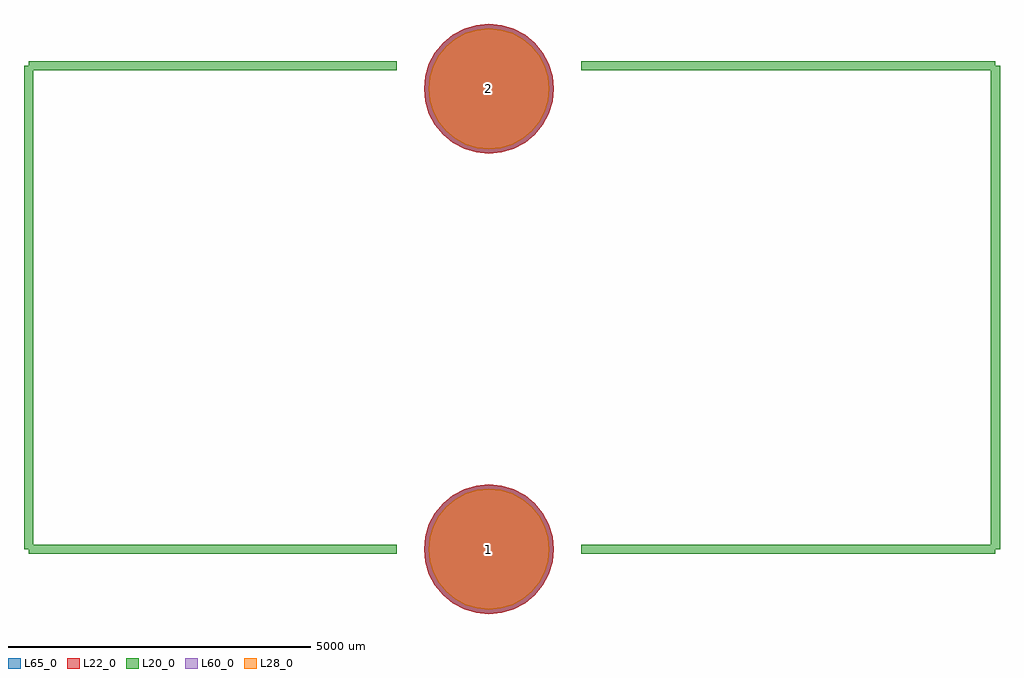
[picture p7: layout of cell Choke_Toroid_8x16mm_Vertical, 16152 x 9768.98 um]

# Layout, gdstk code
import gdstk
lib = gdstk.Library(unit=1e-6, precision=1e-09)
def P(c, l, *ps):  # polygons
    for p in ps: c.add(gdstk.Polygon(p, *l))
L20_0 = (20, 0)
L22_0 = (22, 0)
L28_0 = (28, 0)
L60_0 = (60, 0)
L65_0 = (65, 0)

choke_toroid_8x16mm_vert = lib.new_cell('Choke_Toroid_8x16mm_Vertical')
P(choke_toroid_8x16mm_vert, L22_0, [(8694.49,7620),(8673.844,7829.623),(8612.699,8031.19),(8513.406,8216.955),(8379.779,8379.779),(8216.955,8513.406),(8031.19,8612.699),(7829.623,8673.844),(7620,8694.49),(7410.377,8673.844),(7208.81,8612.699),(7023.045,8513.406),(6860.221,8379.779),(6726.594,8216.955),(6627.301,8031.19),(6566.156,7829.623),(6545.51,7620),(6566.156,7410.377),(6627.301,7208.81),(6726.594,7023.045),(6860.221,6860.221),(7023.045,6726.594),(7208.81,6627.301),(7410.377,6566.156),(7620,6545.51),(7829.623,6566.156),(8031.19,6627.301),(8216.955,6726.594),(8379.779,6860.221),(8513.406,7023.045),(8612.699,7208.81),(8673.844,7410.377)],
  [(8694.49,0),(8673.844,209.623),(8612.699,411.19),(8513.406,596.955),(8379.779,759.779),(8216.955,893.406),(8031.19,992.699),(7829.623,1053.844),(7620,1074.49),(7410.377,1053.844),(7208.81,992.699),(7023.045,893.406),(6860.221,759.779),(6726.594,596.955),(6627.301,411.19),(6566.156,209.623),(6545.51,0),(6566.156,-209.623),(6627.301,-411.19),(6726.594,-596.955),(6860.221,-759.779),(7023.045,-893.406),(7208.81,-992.699),(7410.377,-1053.844),(7620,-1074.49),(7829.623,-1053.844),(8031.19,-992.699),(8216.955,-893.406),(8379.779,-759.779),(8513.406,-596.955),(8612.699,-411.19),(8673.844,-209.623)])
P(choke_toroid_8x16mm_vert, L28_0, [(8619.49,7620),(8600.285,7814.991),(8543.408,8002.488),(8451.046,8175.287),(8326.746,8326.746),(8175.287,8451.046),(8002.488,8543.408),(7814.991,8600.285),(7620,8619.49),(7425.009,8600.285),(7237.512,8543.408),(7064.713,8451.046),(6913.254,8326.746),(6788.954,8175.287),(6696.592,8002.488),(6639.715,7814.991),(6620.51,7620),(6639.715,7425.009),(6696.592,7237.512),(6788.954,7064.713),(6913.254,6913.254),(7064.713,6788.954),(7237.512,6696.592),(7425.009,6639.715),(7620,6620.51),(7814.991,6639.715),(8002.488,6696.592),(8175.287,6788.954),(8326.746,6913.254),(8451.046,7064.713),(8543.408,7237.512),(8600.285,7425.009)],
  [(8619.49,0),(8600.285,194.991),(8543.408,382.488),(8451.046,555.287),(8326.746,706.746),(8175.287,831.046),(8002.488,923.408),(7814.991,980.285),(7620,999.49),(7425.009,980.285),(7237.512,923.408),(7064.713,831.046),(6913.254,706.746),(6788.954,555.287),(6696.592,382.488),(6639.715,194.991),(6620.51,0),(6639.715,-194.991),(6696.592,-382.488),(6788.954,-555.287),(6913.254,-706.746),(7064.713,-831.046),(7237.512,-923.408),(7425.009,-980.285),(7620,-999.49),(7814.991,-980.285),(8002.488,-923.408),(8175.287,-831.046),(8326.746,-706.746),(8451.046,-555.287),(8543.408,-382.488),(8600.285,-194.991)])
P(choke_toroid_8x16mm_vert, L60_0, [(8619.49,7620),(8600.285,7814.991),(8543.408,8002.488),(8451.046,8175.287),(8326.746,8326.746),(8175.287,8451.046),(8002.488,8543.408),(7814.991,8600.285),(7620,8619.49),(7425.009,8600.285),(7237.512,8543.408),(7064.713,8451.046),(6913.254,8326.746),(6788.954,8175.287),(6696.592,8002.488),(6639.715,7814.991),(6620.51,7620),(6639.715,7425.009),(6696.592,7237.512),(6788.954,7064.713),(6913.254,6913.254),(7064.713,6788.954),(7237.512,6696.592),(7425.009,6639.715),(7620,6620.51),(7814.991,6639.715),(8002.488,6696.592),(8175.287,6788.954),(8326.746,6913.254),(8451.046,7064.713),(8543.408,7237.512),(8600.285,7425.009)],
  [(8619.49,0),(8600.285,194.991),(8543.408,382.488),(8451.046,555.287),(8326.746,706.746),(8175.287,831.046),(8002.488,923.408),(7814.991,980.285),(7620,999.49),(7425.009,980.285),(7237.512,923.408),(7064.713,831.046),(6913.254,706.746),(6788.954,555.287),(6696.592,382.488),(6639.715,194.991),(6620.51,0),(6639.715,-194.991),(6696.592,-382.488),(6788.954,-555.287),(6913.254,-706.746),(7064.713,-831.046),(7237.512,-923.408),(7425.009,-980.285),(7620,-999.49),(7814.991,-980.285),(8002.488,-923.408),(8175.287,-831.046),(8326.746,-706.746),(8451.046,-555.287),(8543.408,-382.488),(8600.285,-194.991)])
P(choke_toroid_8x16mm_vert, L65_0, [(8694.49,7620),(8673.844,7829.623),(8612.699,8031.19),(8513.406,8216.955),(8379.779,8379.779),(8216.955,8513.406),(8031.19,8612.699),(7829.623,8673.844),(7620,8694.49),(7410.377,8673.844),(7208.81,8612.699),(7023.045,8513.406),(6860.221,8379.779),(6726.594,8216.955),(6627.301,8031.19),(6566.156,7829.623),(6545.51,7620),(6566.156,7410.377),(6627.301,7208.81),(6726.594,7023.045),(6860.221,6860.221),(7023.045,6726.594),(7208.81,6627.301),(7410.377,6566.156),(7620,6545.51),(7829.623,6566.156),(8031.19,6627.301),(8216.955,6726.594),(8379.779,6860.221),(8513.406,7023.045),(8612.699,7208.81),(8673.844,7410.377)],
  [(8694.49,0),(8673.844,209.623),(8612.699,411.19),(8513.406,596.955),(8379.779,759.779),(8216.955,893.406),(8031.19,992.699),(7829.623,1053.844),(7620,1074.49),(7410.377,1053.844),(7208.81,992.699),(7023.045,893.406),(6860.221,759.779),(6726.594,596.955),(6627.301,411.19),(6566.156,209.623),(6545.51,0),(6566.156,-209.623),(6627.301,-411.19),(6726.594,-596.955),(6860.221,-759.779),(7023.045,-893.406),(7208.81,-992.699),(7410.377,-1053.844),(7620,-1074.49),(7829.623,-1053.844),(8031.19,-992.699),(8216.955,-893.406),(8379.779,-759.779),(8513.406,-596.955),(8612.699,-411.19),(8673.844,-209.623)])
choke_toroid_8x16mm_vert.add(gdstk.FlexPath([(0,8001),(0,0)], 149.998, ends="flush", simple_path=True, layer=20, datatype=0))  # L20_0
choke_toroid_8x16mm_vert.add(gdstk.FlexPath([(16002,0),(16002,8001)], 149.998, ends="flush", simple_path=True, layer=20, datatype=0))  # L20_0
choke_toroid_8x16mm_vert.add(gdstk.FlexPath([(16002,8001),(9144,8001)], 149.998, ends="flush", simple_path=True, layer=20, datatype=0))  # L20_0
choke_toroid_8x16mm_vert.add(gdstk.FlexPath([(6096,8001),(0,8001)], 149.998, ends="flush", simple_path=True, layer=20, datatype=0))  # L20_0
choke_toroid_8x16mm_vert.add(gdstk.FlexPath([(0,0),(6096,0)], 149.998, ends="flush", simple_path=True, layer=20, datatype=0))  # L20_0
choke_toroid_8x16mm_vert.add(gdstk.FlexPath([(16002,0),(9144,0)], 149.998, ends="flush", simple_path=True, layer=20, datatype=0))  # L20_0
choke_toroid_8x16mm_vert.add(gdstk.Label('2', (7620,7620), layer=28, texttype=0))
choke_toroid_8x16mm_vert.add(gdstk.Label('1', (7620,0), layer=28, texttype=0))
choke_toroid_8x16mm_vert.add(gdstk.Label('type', (10160,-3810), layer=9, texttype=0))
choke_toroid_8x16mm_vert.add(gdstk.Label('devicename', (16510,10160), layer=9, texttype=0))

lib.write_gds('Choke_Toroid_8x16mm_Vertical.gds')
